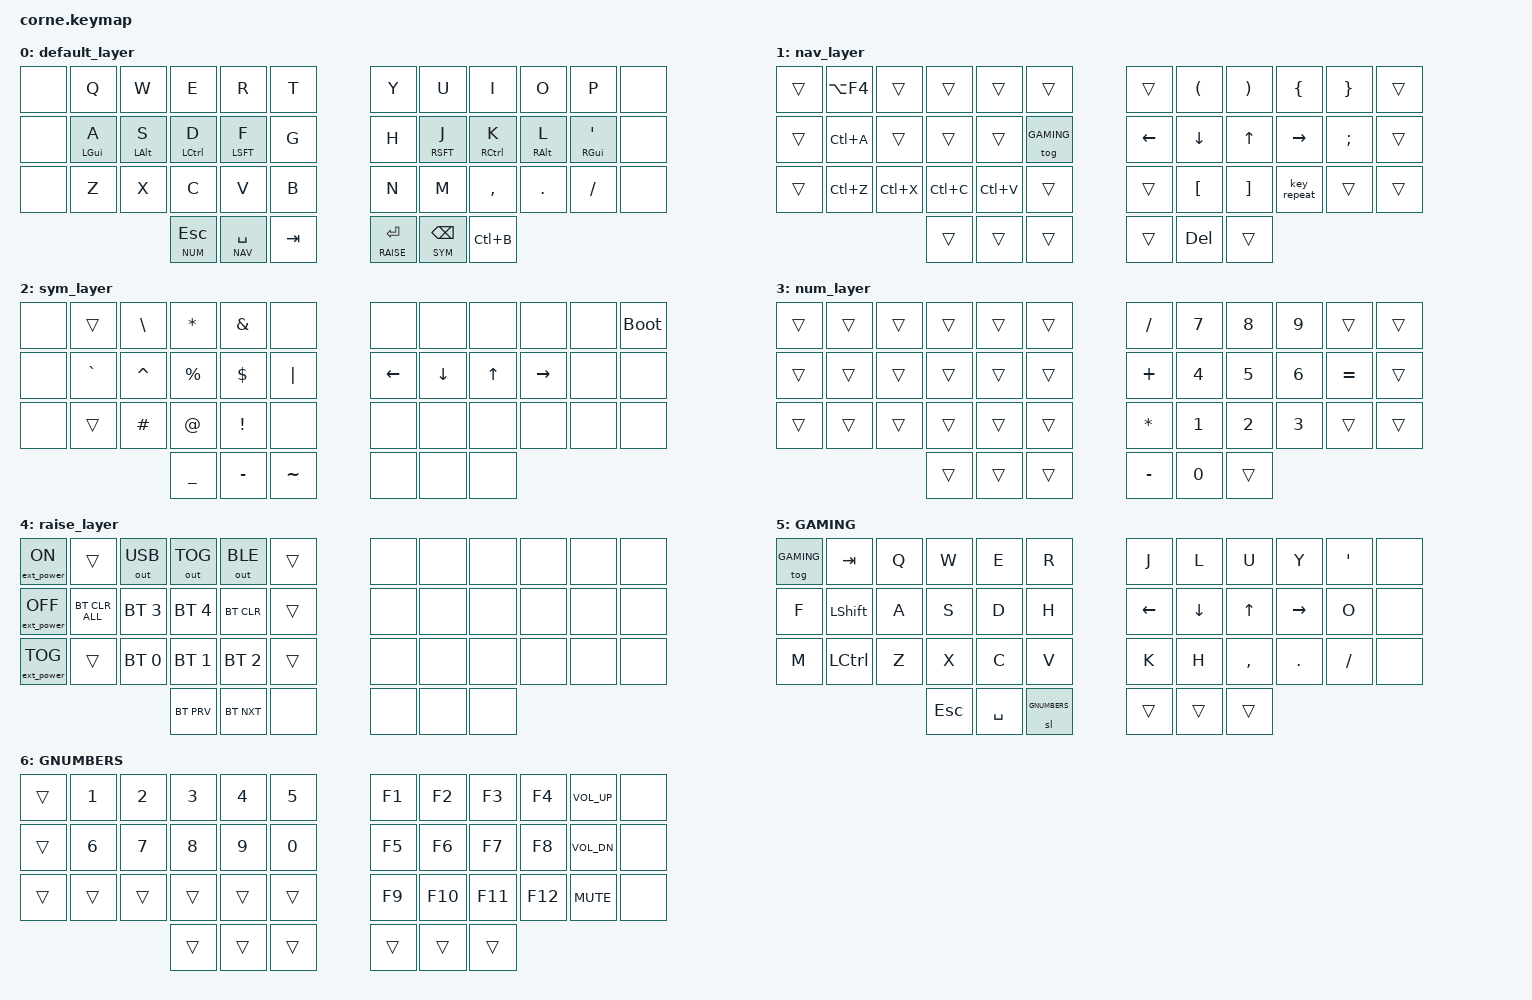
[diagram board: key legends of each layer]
#include <behaviors.dtsi>
#include <dt-bindings/zmk/keys.h>
#include <dt-bindings/zmk/outputs.h>
#include <dt-bindings/zmk/bt.h>
#include <dt-bindings/zmk/ext_power.h>
// #include <keys_uk_enhanced.h>


#define DEFAULT 0
#define NAV 1
#define SYM 2
#define NUM 3
#define RAISE 4
#define GAMING 5
#define GNUMBERS 6

/*
 *  &trans &trans &trans &trans &trans &trans    &trans &trans &trans &trans &trans &trans
 *  &trans &trans &trans &trans &trans &trans    &trans &trans &trans &trans &trans &trans
 *  &trans &trans &trans &trans &trans &trans    &trans &trans &trans &trans &trans &trans
 *                       &trans &trans &trans    &trans &trans &trans
 */


&caps_word {    
    continue-list = <BACKSPACE UNDERSCORE MINUS N1 N2 N3 N4 N5 N6 N7 N8 N9 N0>;
};

/ {
        behaviors {
            hm: balanced_homerow_mods {
                compatible = "zmk,behavior-hold-tap";
                #binding-cells = <2>;
                tapping-term-ms = <200>;
                quick-tap-ms = <0>;
                flavor = "balanced";
                bindings = <&kp>, <&kp>;
            };
        };
        combos {
            compatible = "zmk,combos";

            caps_word {
                timeout-ms = <30>;
                key-positions = <16 19>;
                bindings = <&caps_word>;
                layers = <0>;
            };
            switch_workspace {
                timeout-ms = <30>;
                key-positions = <20 21>;
                bindings = <&kp LA(TAB)>;
                layers = <0>;
            };
            switch_workspace_mirror {
                timeout-ms = <30>;
                key-positions = <14 15>;
                bindings = <&kp LA(TAB)>;
                layers = <0>;
            };
            tab {
                timeout-ms = <30>;
                key-positions = <15 16>;
                bindings = <&kp TAB>;
                layers = <0>;
            };
            enter {
                timeout-ms = <30>;
                key-positions = <19 20>;
                bindings = <&kp RET>;
                // layers = <0>;
            };
            cyrillic_x {
                timeout-ms = <30>;
                key-positions = <8 9>;
                bindings = <&kp LBKT>;
                layers = <0>;
            };
            cyrillic_zh {
                timeout-ms = <30>;
                key-positions = <21 22>;
                bindings = <&kp SEMI>;
                layers = <0>;
            };
            /* gaming_layer { */
            /*     timeout-ms = <30>; */
            /*     key-positions = <3 5>; */
            /*     bindings = <&tog 5>;  */
            /*     layers = <0 6>; */
            /* }; */
        };
        keymap {
                compatible = "zmk,keymap";

                default_layer {
                        bindings = <
    &none   &kp Q        &kp W       &kp E       &kp R       &kp T      &kp Y    &kp U       &kp I       &kp O       &kp P         &none
    &none   &hm LGUI A   &hm LALT S  &hm LCTL D  &hm LSFT F  &kp G      &kp H    &hm RSFT J  &hm RCTL K  &hm RALT L  &hm RGUI SQT  &none
    &none   &kp Z        &kp X       &kp C       &kp V       &kp B      &kp N    &kp M       &kp COMMA   &kp DOT     &kp FSLH      &none 
                 &lt NUM ESC &lt NAV SPACE &kp TAB           &lt RAISE RET    &lt SYM BSPC &kp LC(B)
                        >;
                };
                nav_layer {
                        bindings = <
   &trans  &kp LA(F4)  &trans  &trans  &trans  &trans            &trans   &kp LPAR &kp RPAR &kp LBRC  &kp RBRC      &trans
   &trans  &kp LC(A)  &trans  &trans  &trans  &tog GAMING         &kp LEFT &kp DOWN &kp UP   &kp RIGHT &kp SEMI &trans  
   &trans  &kp LC(Z)  &kp LC(X)  &kp LC(C)  &kp LC(V)  &trans   &trans   &kp LBKT &kp RBKT &key_repeat &trans   &trans
                                    &trans &trans &trans       &trans &kp DEL &trans 
                        >;
                };

                sym_layer {
                        bindings = <
   &none   &trans    &kp BSLH  &kp STAR   &kp AMPS   &none         &none   &none   &none   &none   &none   &bootloader
   &none   &kp GRAVE &kp CARET &kp PRCNT  &kp DLLR   &kp PIPE         &kp LEFT &kp DOWN &kp UP   &kp RIGHT &none &none
   &none   &trans    &kp HASH  &kp AT     &kp EXCL   &none         &none   &none   &none   &none   &none   &none
                               &kp UNDER  &kp MINUS  &kp TILDE    &none   &none   &none
                        >;
                };
               // TODO: toggle two modifiers at once to access             
               num_layer {
                        bindings = <
   &trans &trans &trans &trans &trans &trans    &kp FSLH   &kp N7 &kp N8 &kp N9 &trans &trans
   &trans &trans &trans &trans &trans &trans    &kp PLUS   &kp N4 &kp N5 &kp N6 &kp EQUAL &trans
   &trans &trans &trans &trans &trans &trans    &kp STAR   &kp N1 &kp N2 &kp N3 &trans &trans
                        &trans &trans &trans     &kp MINUS &kp N0 &trans
                        >;
                };
                raise_layer {
                        bindings = <
   &ext_power EP_ON   &trans          &out OUT_USB  &out OUT_TOG  &out OUT_BLE &trans        &none   &none   &none   &none   &none   &none
   &ext_power EP_OFF  &bt BT_CLR_ALL  &bt BT_SEL 3  &bt BT_SEL 4  &bt BT_CLR   &trans        &none   &none   &none   &none   &none   &none
   &ext_power EP_TOG  &trans          &bt BT_SEL 0  &bt BT_SEL 1  &bt BT_SEL 2 &trans        &none   &none   &none   &none   &none   &none
                                 &bt BT_PRV       &bt BT_NXT       &none           &none        &none   &none
                        >;
                };
                gaming_layer {
            label = "GAMING";
            bindings = <
                    &tog GAMING &kp TAB   &kp Q  &kp W  &kp E  &kp R   &kp J   &kp L   &kp U   &kp Y   &kp SQT &none
                    &kp F  &kp LSHFT   &kp A   &kp S   &kp D   &kp H    &kp LEFT   &kp DOWN   &kp UP   &kp RIGHT   &kp O   &none
                    &kp M  &kp LCTRL   &kp Z   &kp X   &kp C   &kp V    &kp K   &kp H   &kp COMMA &kp DOT &kp FSLH &none
                                    &kp ESC  &kp SPACE &sl GNUMBERS     &trans  &trans  &trans
            >;
        };
                gnumbers_layer {
            label = "GNUMBERS";
            bindings = <
                &trans   &kp N1   &kp N2   &kp N3   &kp N4   &kp N5         &kp F1    &kp F2    &kp F3    &kp F4    &kp C_VOL_UP  &none
                &trans   &kp N6   &kp N7   &kp N8   &kp N9   &kp N0         &kp F5    &kp F6    &kp F7    &kp F8    &kp C_VOL_DN  &none
                &trans   &trans   &trans   &trans   &trans   &trans         &kp F9    &kp F10   &kp F11   &kp F12   &kp C_MUTE    &none
                                  &trans   &trans   &trans                  &trans    &trans    &trans
            >;
        };
        };
};
